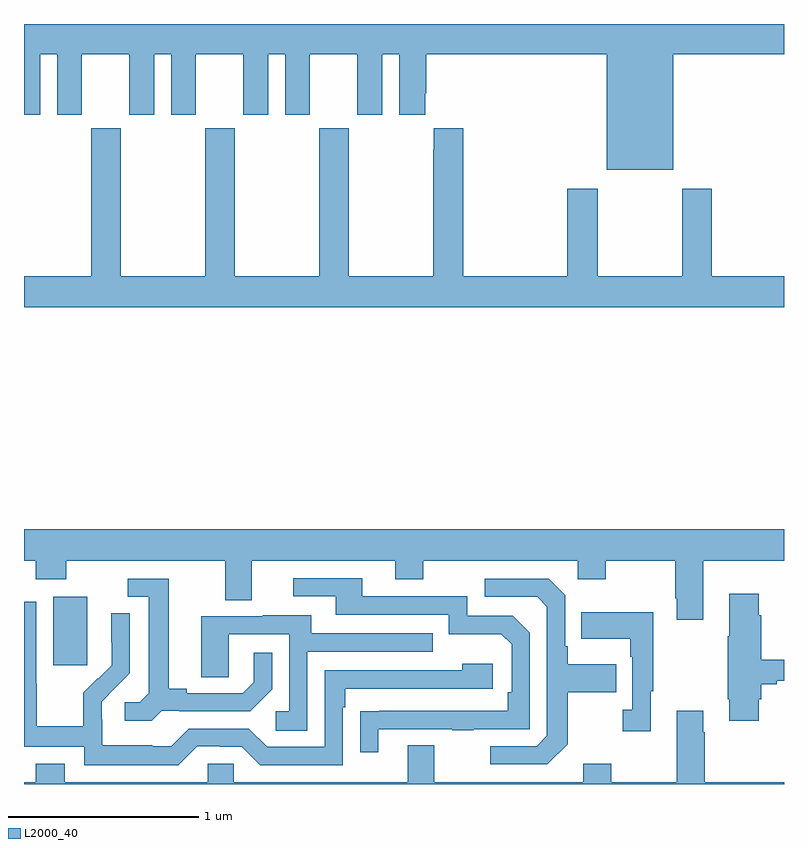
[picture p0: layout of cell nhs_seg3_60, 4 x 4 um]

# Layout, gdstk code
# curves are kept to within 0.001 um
import gdstk
lib = gdstk.Library(unit=1e-6, precision=1e-09)
def R(c, l, rs):  # rectangles x0, y0, x1, y1
    for r in rs: c.add(gdstk.rectangle(r[:2], r[2:], *l))
def P(c, l, *ps):  # polygons
    for p in ps: c.add(gdstk.Polygon(p, *l))
L2000_40 = (2000, 40)

nhs_seg3_60 = lib.new_cell('nhs_seg3_60')
R(nhs_seg3_60, L2000_40, [(113.153,707.025,113.332,707.386)])
P(nhs_seg3_60, L2000_40, [(116.416,710.24),(117,710.24),(117,710.4),(113,710.4),(113,709.923),(113.086,709.923),(113.086,710.24),(113.174,710.24),(113.174,709.923),(113.305,709.923),(113.305,710.24),(113.555,710.24),(113.555,709.923),(113.686,709.923),(113.686,710.24),(113.774,710.24),(113.774,709.923),(113.905,709.923),(113.905,710.24),(114.155,710.24),(114.155,709.923),(114.286,709.923),(114.286,710.24),(114.374,710.24),(114.374,709.923),(114.505,709.923),(114.505,710.24),(114.755,710.24),(114.755,709.923),(114.886,709.923),(114.886,710.24),(114.974,710.24),(114.974,709.923),(115.111,709.923),(115.111,710.035),(115.118,710.035),(115.118,710.24),(116.066,710.24),(116.066,709.634),(116.416,709.634)],
  [(117,709.072),(116.619,709.072),(116.619,709.534),(116.464,709.534),(116.464,709.072),(116.019,709.072),(116.019,709.534),(115.859,709.534),(115.859,709.072),(115.313,709.072),(115.313,709.852),(115.157,709.852),(115.157,709.739),(115.153,709.739),(115.153,709.072),(114.708,709.072),(114.708,709.852),(114.553,709.852),(114.553,709.072),(114.108,709.072),(114.108,709.852),(113.953,709.852),(113.953,709.072),(113.508,709.072),(113.508,709.852),(113.353,709.852),(113.353,709.072),(113,709.072),(113,708.908),(117,708.908)],
  [(116.575,707.576),(117,707.576),(117,707.74),(113,707.74),(113,707.576),(113.063,707.576),(113.063,707.477),(113.223,707.477),(113.223,707.576),(114.059,707.576),(114.059,707.368),(114.199,707.368),(114.199,707.576),(114.953,707.576),(114.953,707.477),(115.101,707.477),(115.101,707.576),(115.914,707.576),(115.914,707.477),(116.061,707.477),(116.061,707.576),(116.428,707.576),(116.428,707.377),(116.435,707.377),(116.435,707.265),(116.575,707.265)],
  [(114.865,706.689),(115.255,706.689),(115.255,706.684),(115.367,706.684),(115.367,706.689),(115.662,706.689),(115.662,707.196),(115.572,707.286),(115.332,707.286),(115.332,707.388),(114.781,707.388),(114.781,707.484),(114.417,707.484),(114.417,707.388),(114.641,707.388),(114.641,707.292),(115.236,707.292),(115.236,707.189),(115.513,707.189),(115.566,707.136),(115.566,706.882),(115.546,706.882),(115.546,706.785),(114.769,706.784),(114.769,706.566),(114.865,706.566)],
  [(115.861,706.609),(115.861,706.882),(116.117,706.882),(116.117,707.029),(115.861,707.029),(115.861,707.125),(115.848,707.125),(115.848,707.394),(115.761,707.481),(115.425,707.481),(115.425,707.385),(115.701,707.385),(115.752,707.334),(115.752,706.653),(115.698,706.599),(115.455,706.599),(115.455,706.503),(115.755,706.503)],
  [(113.724,706.785),(113.818,706.785),(113.818,706.782),(114.19,706.782),(114.306,706.898),(114.306,707.092),(114.209,707.092),(114.209,706.935),(114.152,706.878),(113.857,706.878),(113.857,706.901),(113.761,706.901),(113.761,707.481),(113.547,707.481),(113.547,707.385),(113.657,707.385),(113.657,706.877),(113.61,706.83),(113.529,706.83),(113.529,706.733),(113.672,706.733)],
  [(116.866,706.847),(116.879,706.847),(116.879,706.924),(116.962,706.924),(116.962,706.943),(117,706.943),(117,707.053),(116.879,707.053),(116.879,707.288),(116.866,707.288),(116.866,707.401),(116.711,707.401),(116.711,707.177),(116.704,707.177),(116.704,706.846),(116.711,706.846),(116.711,706.734),(116.866,706.734)],
  [(113.913,706.599),(114.029,706.599),(114.029,706.596),(114.147,706.596),(114.243,706.5),(114.678,706.5),(114.678,706.805),(114.691,706.805),(114.691,706.902),(115.468,706.902),(115.468,707.032),(115.307,707.032),(115.307,706.998),(114.582,706.998),(114.582,706.596),(114.279,706.596),(114.183,706.692),(113.868,706.692),(113.775,706.599),(113.675,706.599),(113.675,706.603),(113.412,706.603),(113.412,706.737),(113.41,706.737),(113.41,706.834),(113.556,706.982),(113.556,707.3),(113.46,707.3),(113.46,707.146),(113.462,707.146),(113.462,707.024),(113.391,706.953),(113.388,706.956),(113.311,706.879),(113.311,706.705),(113.067,706.705),(113.067,706.928),(113.064,706.928),(113.064,707.358),(113,707.358),(113,706.596),(113.316,706.596),(113.316,706.499),(113.813,706.499)],
  [(116.299,706.889),(116.311,706.889),(116.311,707.305),(115.933,707.305),(115.933,707.165),(116.19,707.165),(116.19,707.069),(116.202,707.069),(116.202,706.79),(116.151,706.79),(116.151,706.677),(116.299,706.677)],
  [(114.492,707.097),(115.151,707.097),(115.151,707.193),(114.511,707.193),(114.511,707.287),(114.257,707.287),(114.257,707.283),(113.933,707.283),(113.933,706.963),(114.078,706.963),(114.078,707.187),(114.396,707.187),(114.396,706.782),(114.324,706.782),(114.324,706.681),(114.492,706.681)],
  [(117,706.408),(116.583,706.408),(116.583,706.673),(116.575,706.673),(116.575,706.786),(116.435,706.786),(116.435,706.408),(116.091,706.408),(116.091,706.507),(115.943,706.507),(115.943,706.408),(115.159,706.408),(115.159,706.603),(115.019,706.603),(115.019,706.408),(114.105,706.408),(114.105,706.506),(113.967,706.506),(113.967,706.408),(113.215,706.408),(113.215,706.507),(113.063,706.507),(113.063,706.408),(113,706.408),(113,706.4),(117,706.4)])

lib.write_gds('nhs_seg3_60.gds')
